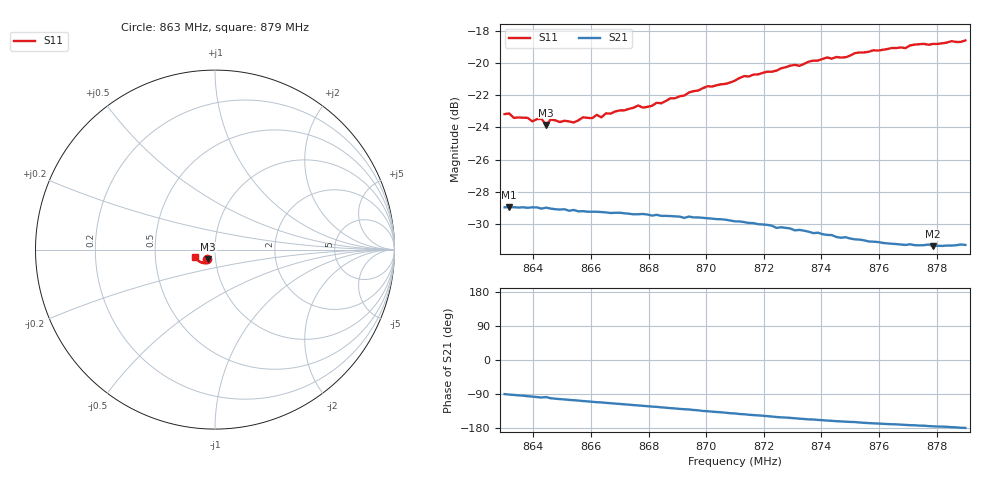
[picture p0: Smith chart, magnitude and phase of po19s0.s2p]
# HZ S RI R 50
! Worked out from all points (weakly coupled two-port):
!   101 points, 863 MHz to 879 MHz, reference 50 ohm
!   highest |S21| = -28.95 dB at 863.16 MHz (marker M1); lowest = -31.4 dB at 877.88 MHz (marker M2)
!   lowest |S11| = -23.8 dB at 864.44 MHz (marker M3), VSWR 1.14, Z = 46.1 - j4.77 ohm
!   |S11| at or under -10 dB: start of sweep to end of sweep
!   S12 and S22 are empty: the file has one direction only
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8.63e8  -0.0438 -0.0538  4.7e-05 -0.0356  0 0  0 0
8.6316e8  -0.0438 -0.0542  -0.000769 -0.0357  0 0  0 0
8.6332e8  -0.0417 -0.0531  -0.00134 -0.0356  0 0  0 0
8.638e8  -0.0403 -0.0542  -0.00343 -0.0353  0 0  0 0
8.6396e8  -0.0386 -0.0534  -0.00404 -0.0354  0 0  0 0
8.6428e8  -0.0373 -0.0558  -0.00554 -0.0348  0 0  0 0
8.6444e8  -0.0384 -0.0515  -0.00478 -0.0352  0 0  0 0
8.646e8  -0.0382 -0.0547  -0.00669 -0.0347  0 0  0 0
8.654e8  -0.0338 -0.0559  -0.00969 -0.0336  0 0  0 0
8.6572e8  -0.0371 -0.0568  -0.0109 -0.0329  0 0  0 0
8.6604e8  -0.0344 -0.0579  -0.0119 -0.0324  0 0  0 0
8.662e8  -0.0354 -0.0593  -0.0126 -0.0321  0 0  0 0
8.6636e8  -0.0342 -0.0585  -0.0129 -0.0319  0 0  0 0
8.6764e8  -0.0358 -0.0646  -0.0169 -0.0294  0 0  0 0
8.678e8  -0.0353 -0.0635  -0.0175 -0.0291  0 0  0 0
8.6844e8  -0.0367 -0.0653  -0.0192 -0.0275  0 0  0 0
8.7004e8  -0.0434 -0.0727  -0.0234 -0.0232  0 0  0 0
8.71e8  -0.0483 -0.0737  -0.0251 -0.0202  0 0  0 0
8.7372e8  -0.0684 -0.0752  -0.0273 -0.0116  0 0  0 0
8.7644e8  -0.0928 -0.0615  -0.027 -0.00498  0 0  0 0
8.7788e8  -0.1034 -0.0494  -0.0269 -0.00232  0 0  0 0
8.79e8  -0.1109 -0.0386  -0.0272 -0.00035  0 0  0 0
